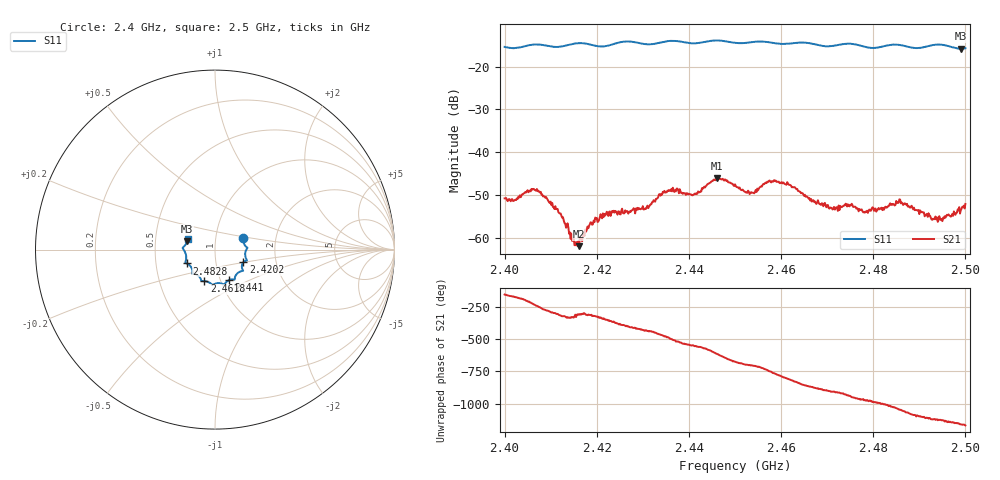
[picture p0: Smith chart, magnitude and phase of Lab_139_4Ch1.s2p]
# Hz S RI R 50
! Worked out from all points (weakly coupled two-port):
!   601 points, 2.4 GHz to 2.5 GHz, reference 50 ohm
!   highest |S21| = -46.11 dB at 2.446 GHz (marker M1); lowest = -62.0 dB at 2.4162 GHz (marker M2)
!   lowest |S11| = -15.8 dB at 2.499 GHz (marker M3), VSWR 1.39, Z = 36.5 + j3.48 ohm
!   |S11| at or under -10 dB: start of sweep to end of sweep
!   S12 and S22 are empty: the file has one direction only
!   S11 on the Smith chart (normalised r, x): 2.4 GHz: 1.36, +0.18; 2.4202 GHz: 1.36, -0.20; 2.441 GHz: 1.10, -0.39; 2.4618 GHz: 0.84, -0.30; 2.4828 GHz: 0.72, -0.12; 2.5 GHz: 0.73, +0.09
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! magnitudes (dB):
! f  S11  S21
! 2.4 GHz  -15.4  -50.8
! 2.4073 GHz  -14.8  -49.0
! 2.4148 GHz  -14.7  -60.7
! 2.4162 GHz  -14.5  -62.0
! 2.4167 GHz  -14.5  -60.2
! 2.4202 GHz  -15.2  -56.3
! 2.4307 GHz  -14.8  -53.3
! 2.4333 GHz  -14.5  -50.5
! 2.441 GHz  -14.6  -49.9
! 2.446 GHz  -13.9  -46.1
! 2.45 GHz  -14.5  -47.5
! 2.4537 GHz  -14.3  -49.5
! 2.4572 GHz  -14.3  -47.0
! 2.4618 GHz  -14.6  -47.7
! 2.4667 GHz  -14.6  -51.6
! 2.4783 GHz  -15.4  -53.9
! 2.4828 GHz  -15.1  -53.0
! 2.4833 GHz  -15.0  -52.7
! 2.4858 GHz  -15.0  -51.1
! 2.4945 GHz  -14.9  -55.6
! 2.499 GHz  -15.8  -53.6
! 2.5 GHz  -15.7  -52.1
